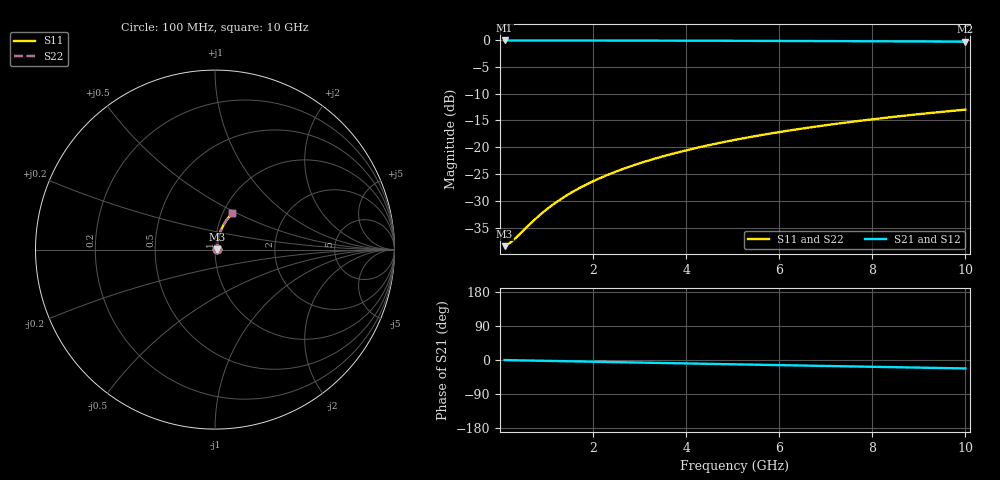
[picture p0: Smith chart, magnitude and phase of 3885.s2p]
# Hz S RI R 50.00
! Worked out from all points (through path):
!   100 points, 100 MHz to 10 GHz, reference 50 ohm
!   highest |S21| = -0.10 dB at 100 MHz (marker M1); lowest = -0.3 dB at 10 GHz (marker M2)
!   group delay of S21, straight-line fit = 6.19 ps
!   lowest |S11| = -38.5 dB at 100 MHz (marker M3), VSWR 1.02, Z = 51.2 + j0.234 ohm
!   |S11| at or under -10 dB: start of sweep to end of sweep
!   |S22| runs from -38.5 to -13.0 dB; largest |S21 - S12| = 0
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1e8  0.0117 0.00228  0.9883 -0.0039  0.9883 -0.0039  0.0117 0.00228
2e8  0.0118 0.00457  0.9882 -0.0078  0.9882 -0.0078  0.0118 0.00457
3e8  0.0119 0.00685  0.9881 -0.0117  0.9881 -0.0117  0.0119 0.00685
8e8  0.0126 0.0182  0.9873 -0.0312  0.9873 -0.0312  0.0126 0.0182
9e8  0.0128 0.0205  0.9871 -0.0351  0.9871 -0.0351  0.0128 0.0205
1.1e9  0.0132 0.0251  0.9866 -0.0429  0.9866 -0.0429  0.0132 0.0251
1.4e9  0.0139 0.0319  0.9858 -0.0545  0.9858 -0.0545  0.0139 0.0319
1.6e9  0.0145 0.0364  0.9852 -0.0623  0.9852 -0.0623  0.0145 0.0364
1.8e9  0.0151 0.0409  0.9844 -0.07  0.9844 -0.07  0.0151 0.0409
2.1e9  0.0162 0.0476  0.9832 -0.0816  0.9832 -0.0816  0.0162 0.0476
2.5e9  0.0179 0.0566  0.9812 -0.097  0.9812 -0.097  0.0179 0.0566
2.9e9  0.0199 0.0654  0.979 -0.1124  0.979 -0.1124  0.0199 0.0654
3.4e9  0.0227 0.0764  0.9757 -0.1315  0.9757 -0.1315  0.0227 0.0764
3.8e9  0.0253 0.0851  0.9727 -0.1467  0.9727 -0.1467  0.0253 0.0851
4.2e9  0.0282 0.0937  0.9694 -0.1617  0.9694 -0.1617  0.0282 0.0937
4.6e9  0.0313 0.1022  0.9658 -0.1767  0.9658 -0.1767  0.0313 0.1022
5.1e9  0.0355 0.1126  0.9609 -0.1953  0.9609 -0.1953  0.0355 0.1126
5.9e9  0.0432 0.1289  0.9521 -0.2246  0.9521 -0.2246  0.0432 0.1289
6.7e9  0.0517 0.1446  0.9422 -0.2533  0.9422 -0.2533  0.0517 0.1446
7.5e9  0.0612 0.1597  0.9312 -0.2814  0.9312 -0.2814  0.0612 0.1597
8.4e9  0.0729 0.1758  0.9176 -0.3122  0.9176 -0.3122  0.0729 0.1758
1e10  0.0961 0.2021  0.8904 -0.3647  0.8904 -0.3647  0.0961 0.2021
